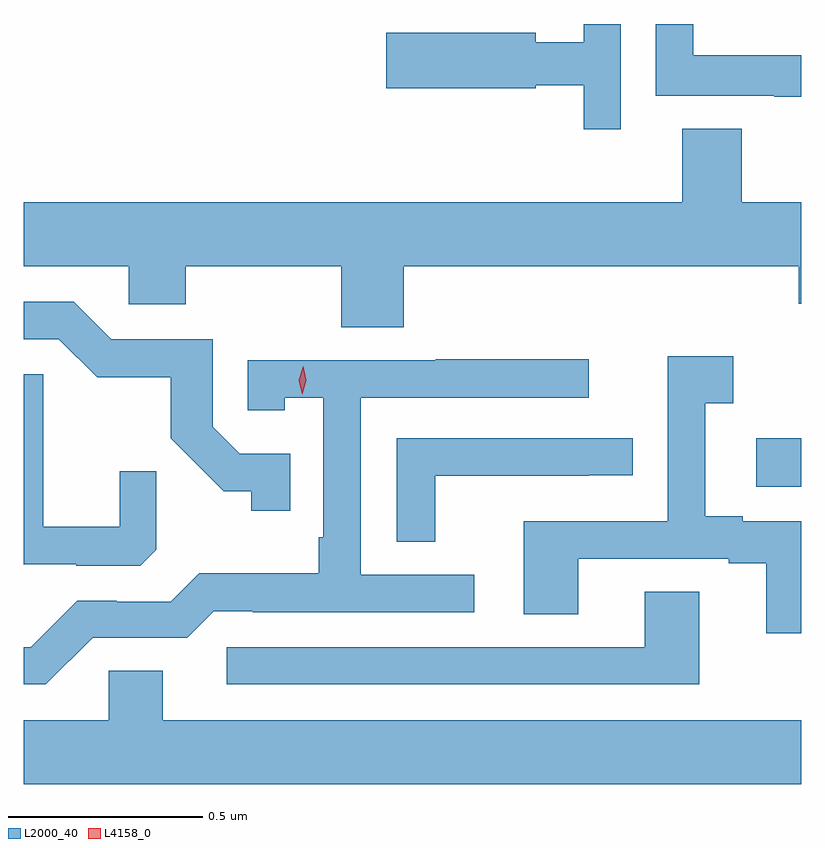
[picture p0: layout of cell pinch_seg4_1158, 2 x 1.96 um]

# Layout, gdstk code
import gdstk
lib = gdstk.Library(unit=1e-6, precision=1e-09)
def R(c, l, rs):  # rectangles x0, y0, x1, y1
    for r in rs: c.add(gdstk.rectangle(r[:2], r[2:], *l))
def P(c, l, *ps):  # polygons
    for p in ps: c.add(gdstk.Polygon(p, *l))
L2000_40 = (2000, 40)
L4158_0 = (4158, 0)

pinch_seg4_1158 = lib.new_cell('pinch_seg4_1158')
R(pinch_seg4_1158, L2000_40, [(434.241,762.953,434.357,763.077)])
P(pinch_seg4_1158, L2000_40, [(433.893,764.143),(433.797,764.143),(433.797,764.096),(433.674,764.096),(433.674,764.12),(433.29,764.12),(433.29,763.978),(433.674,763.978),(433.674,763.986),(433.797,763.986),(433.797,763.872),(433.893,763.872)],
  [(434.357,764.062),(434.079,764.062),(434.079,764.143),(433.983,764.143),(433.983,763.958),(434.287,763.958),(434.287,763.956),(434.357,763.956)],
  [(433.334,763.52),(434.351,763.52),(434.351,763.424),(434.357,763.424),(434.357,763.684),(434.204,763.684),(434.204,763.873),(434.051,763.873),(434.051,763.684),(432.357,763.684),(432.357,763.52),(432.627,763.52),(432.627,763.422),(432.774,763.422),(432.774,763.52),(433.174,763.52),(433.174,763.363),(433.334,763.363)],
  [(433.043,763.038),(432.912,763.038),(432.843,763.107),(432.843,763.332),(432.582,763.332),(432.486,763.428),(432.357,763.428),(432.357,763.332),(432.447,763.332),(432.546,763.234),(432.735,763.234),(432.735,763.078),(432.872,762.941),(432.942,762.941),(432.942,762.891),(433.043,762.891)],
  [(434.357,762.864),(434.206,762.864),(434.206,762.877),(434.11,762.877),(434.11,763.168),(434.182,763.168),(434.182,763.288),(434.013,763.288),(434.013,762.864),(433.643,762.864),(433.643,762.625),(433.783,762.625),(433.783,762.768),(434.171,762.768),(434.171,762.756),(434.267,762.756),(434.267,762.576),(434.357,762.576)],
  [(432.534,762.564),(432.777,762.564),(432.846,762.633),(432.946,762.633),(432.946,762.63),(433.516,762.63),(433.516,762.726),(433.224,762.726),(433.224,763.182),(433.81,763.182),(433.81,763.281),(433.417,763.281),(433.417,763.278),(432.933,763.278),(432.933,763.149),(433.029,763.149),(433.029,763.181),(433.128,763.181),(433.128,762.823),(433.116,762.823),(433.116,762.73),(432.808,762.73),(432.735,762.657),(432.596,762.657),(432.596,762.66),(432.495,762.66),(432.375,762.54),(432.357,762.54),(432.357,762.444),(432.414,762.444)],
  [(432.698,762.791),(432.698,762.993),(432.604,762.993),(432.604,762.85),(432.407,762.85),(432.407,763.242),(432.357,763.242),(432.357,762.752),(432.358,762.753),(432.492,762.753),(432.492,762.75),(432.657,762.75)],
  [(433.416,762.981),(433.811,762.981),(433.811,762.982),(433.924,762.982),(433.924,763.077),(433.317,763.077),(433.317,762.811),(433.416,762.811)],
  [(434.095,762.683),(433.955,762.683),(433.955,762.54),(432.879,762.54),(432.879,762.444),(434.095,762.444)],
  [(434.357,762.352),(432.715,762.352),(432.715,762.479),(432.576,762.479),(432.576,762.352),(432.357,762.352),(432.357,762.188),(434.357,762.188)])
P(pinch_seg4_1158, L4158_0, [(433.073,763.191),(433.073,763.191),(433.064,763.227),(433.076,763.263),(433.076,763.263),(433.076,763.263),(433.084,763.226),(433.073,763.191)])

lib.write_gds('pinch_seg4_1158.gds')
